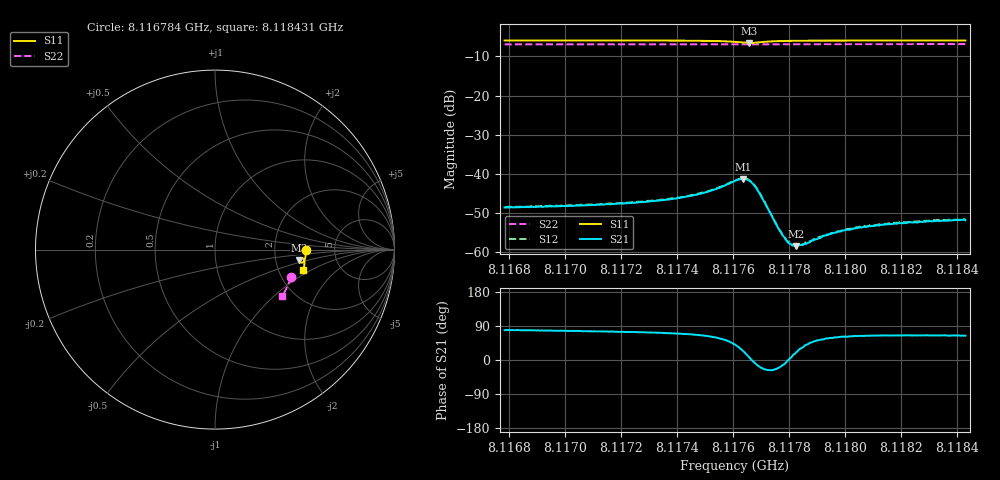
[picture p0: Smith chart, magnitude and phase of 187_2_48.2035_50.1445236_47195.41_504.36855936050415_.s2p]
#  HZ  S  RI  R  50.00
! Rohde & Schwarz Vector Network Analyzer
! Rohde-Schwarz,ZNB20-2Port,1311601062101988,3.16
! Created: UTC 3/20/2024, 11:44:23 AM
! freq[Hz]  re:S11  im:S11  re:S21  im:S21  re:S12  im:S12  re:S22  im:S22
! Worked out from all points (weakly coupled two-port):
!   401 points, 8.116784 GHz to 8.118431 GHz, reference 50 ohm
!   highest |S21| = -41.30 dB at 8.117636 GHz (marker M1); lowest = -58.5 dB at 8.117826 GHz (marker M2)
!   lowest |S11| = -6.5 dB at 8.117657 GHz (marker M3), VSWR 2.78, Z = 136 - j20.6 ohm
!   |S11| at or under -10 dB: nowhere
!   |S22| runs from -6.9 to -6.8 dB; largest |S21 - S12| = 0.00022
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8.1167838e9  0.5064 -0.000471  0.000724 0.00365  0.00077 0.00371  0.4229 -0.155
8.1170598e9  0.5054 -0.022  0.000947 0.00383  0.000999 0.00391  0.4168 -0.1731
8.1173357e9  0.5027 -0.0451  0.00143 0.00433  0.00148 0.00437  0.4095 -0.1912
8.1174139e9  0.501 -0.0524  0.00175 0.00464  0.00182 0.0047  0.4073 -0.1963
8.1174798e9  0.4986 -0.0595  0.00228 0.00504  0.00236 0.00513  0.4055 -0.2006
8.1175416e9  0.4936 -0.067  0.0033 0.00551  0.00345 0.0056  0.4033 -0.2046
8.1176075e9  0.4801 -0.0727  0.00614 0.00528  0.00632 0.00529  0.401 -0.2085
8.1176363e9  0.4707 -0.0679  0.00789 0.00346  0.00806 0.00348  0.3997 -0.2099
8.1176569e9  0.4677 -0.059  0.00815 0.00119  0.00831 0.00111  0.3991 -0.2108
8.1176734e9  0.4701 -0.0516  0.0073 -0.000594  0.00739 -0.000655  0.3988 -0.2114
8.1176898e9  0.476 -0.0472  0.00582 -0.00159  0.00596 -0.00165  0.3988 -0.2122
8.1177557e9  0.4934 -0.0525  0.00206 -0.000892  0.00206 -0.000925  0.3974 -0.2166
8.1177846e9  0.4961 -0.0571  0.00149 -0.000281  0.00153 -0.000278  0.3967 -0.2187
8.1178051e9  0.4972 -0.06  0.00127 0.000106  0.0013 9.34e-05  0.396 -0.2199
8.1178257e9  0.4978 -0.0628  0.00112 0.00041  0.00112 0.000401  0.3954 -0.2214
8.1178587e9  0.4983 -0.067  0.000981 0.000799  0.00104 0.000832  0.3944 -0.2234
8.1178834e9  0.4986 -0.0697  0.000968 0.00102  0.000976 0.00102  0.3937 -0.2251
8.1179246e9  0.4984 -0.0741  0.000926 0.00131  0.000935 0.00133  0.3923 -0.2277
8.1179987e9  0.4979 -0.0811  0.000907 0.00166  0.000921 0.00167  0.3898 -0.2323
8.1180605e9  0.4973 -0.0866  0.000904 0.00185  0.000948 0.00188  0.3878 -0.2362
8.1181593e9  0.4959 -0.0948  0.000979 0.00204  0.00104 0.00209  0.3844 -0.2423
8.1184311e9  0.4915 -0.1156  0.00111 0.0023  0.00117 0.00238  0.3744 -0.2587
